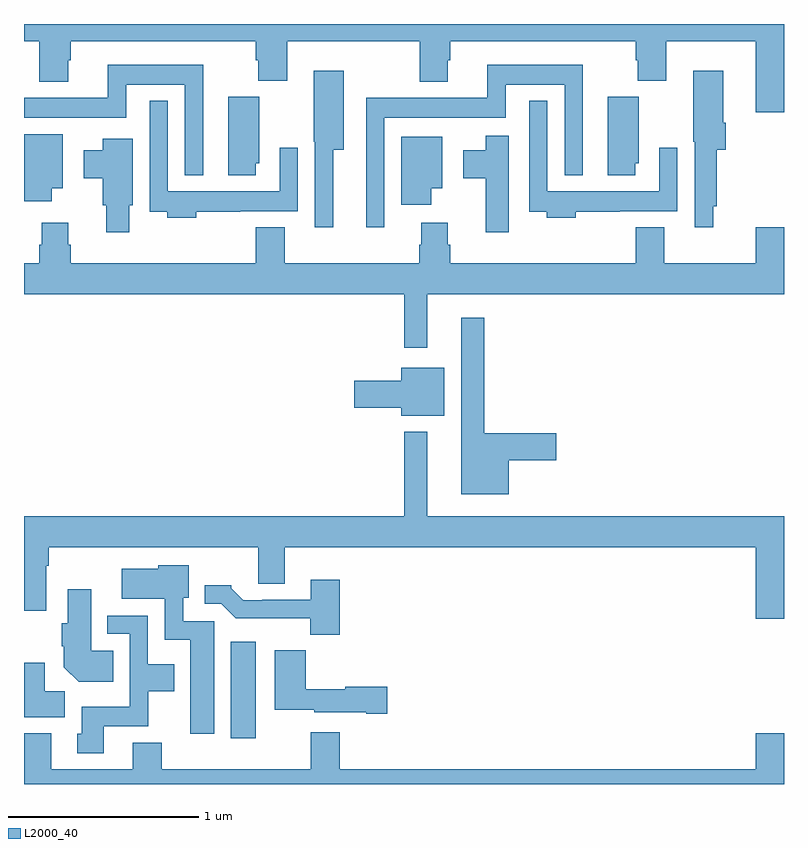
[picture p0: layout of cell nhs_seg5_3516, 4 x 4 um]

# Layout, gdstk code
import gdstk
lib = gdstk.Library(unit=1e-6, precision=1e-09)
def R(c, l, rs):  # rectangles x0, y0, x1, y1
    for r in rs: c.add(gdstk.rectangle(r[:2], r[2:], *l))
def P(c, l, *ps):  # polygons
    for p in ps: c.add(gdstk.Polygon(p, *l))
L2000_40 = (2000, 40)

nhs_seg5_3516 = lib.new_cell('nhs_seg5_3516')
R(nhs_seg5_3516, L2000_40, [(318.089,905.04,318.22,905.548)])
P(nhs_seg5_3516, L2000_40, [(317,908.708),(317.081,908.708),(317.081,908.495),(317.233,908.495),(317.233,908.607),(317.246,908.607),(317.246,908.708),(318.221,908.708),(318.221,908.609),(318.233,908.609),(318.233,908.5),(318.386,908.5),(318.386,908.708),(319.084,908.708),(319.084,908.495),(319.231,908.495),(319.231,908.607),(319.244,908.607),(319.244,908.708),(320.219,908.708),(320.219,908.609),(320.231,908.609),(320.231,908.5),(320.379,908.5),(320.379,908.708),(320.852,908.708),(320.852,908.334),(321,908.334),(321,908.799),(317,908.799)],
  [(318.897,908.306),(319.536,908.306),(319.536,908.48),(319.845,908.48),(319.845,908.003),(319.942,908.003),(319.942,908.584),(319.439,908.584),(319.439,908.41),(318.801,908.41),(318.801,908.078),(318.8,908.078),(318.8,907.728),(318.897,907.728)],
  [(317.944,908.584),(317.441,908.584),(317.441,908.41),(317,908.41),(317,908.306),(317.538,908.306),(317.538,908.48),(317.847,908.48),(317.847,908.003),(317.944,908.003)],
  [(318.628,908.138),(318.682,908.138),(318.682,908.554),(318.524,908.554),(318.524,908.178),(318.531,908.178),(318.531,907.728),(318.628,907.728)],
  [(320.628,907.84),(320.645,907.84),(320.645,908.138),(320.693,908.138),(320.693,908.278),(320.68,908.278),(320.68,908.554),(320.522,908.554),(320.522,908.178),(320.529,908.178),(320.529,907.728),(320.628,907.728)],
  [(318.22,908.067),(318.238,908.067),(318.238,908.415),(318.074,908.415),(318.074,908.004),(318.22,908.004)],
  [(320.218,908.067),(320.236,908.067),(320.236,908.415),(320.072,908.415),(320.072,908.004),(320.218,908.004)],
  [(319.904,907.812),(320.135,907.812),(320.135,907.814),(320.439,907.814),(320.439,908.149),(320.343,908.149),(320.343,907.918),(319.755,907.918),(319.755,908.395),(319.659,908.395),(319.659,907.812),(319.751,907.812),(319.751,907.778),(319.904,907.778)],
  [(317.906,907.812),(318.137,907.812),(318.137,907.814),(318.441,907.814),(318.441,908.149),(318.345,908.149),(318.345,907.918),(317.757,907.918),(317.757,908.395),(317.661,908.395),(317.661,907.812),(317.753,907.812),(317.753,907.778),(317.906,907.778)],
  [(317.146,907.934),(317.203,907.934),(317.203,908.218),(317,908.218),(317,907.866),(317.146,907.866)],
  [(319.552,908.212),(319.43,908.212),(319.43,908.134),(319.313,908.134),(319.313,907.987),(319.43,907.987),(319.43,907.704),(319.552,907.704)],
  [(319.144,907.934),(319.201,907.934),(319.201,908.206),(318.986,908.206),(318.986,907.848),(319.144,907.848)],
  [(317.554,907.845),(317.572,907.845),(317.572,908.194),(317.414,908.194),(317.414,908.134),(317.315,908.134),(317.315,907.987),(317.414,907.987),(317.414,907.845),(317.432,907.845),(317.432,907.704),(317.554,907.704)],
  [(319.123,907.376),(321,907.376),(321,907.729),(320.852,907.729),(320.852,907.54),(320.371,907.54),(320.371,907.729),(320.219,907.729),(320.219,907.54),(319.244,907.54),(319.244,907.638),(319.231,907.638),(319.231,907.753),(319.091,907.753),(319.091,907.638),(319.079,907.638),(319.079,907.54),(318.373,907.54),(318.373,907.729),(318.221,907.729),(318.221,907.54),(317.246,907.54),(317.246,907.638),(317.233,907.638),(317.233,907.753),(317.093,907.753),(317.093,907.638),(317.081,907.638),(317.081,907.54),(317,907.54),(317,907.376),(319.002,907.376),(319.002,907.095),(319.123,907.095)],
  [(319.552,906.502),(319.801,906.502),(319.801,906.644),(319.423,906.644),(319.423,907.252),(319.301,907.252),(319.301,906.323),(319.552,906.323)],
  [(319.213,906.991),(318.986,906.991),(318.986,906.921),(318.738,906.921),(318.738,906.779),(318.986,906.779),(318.986,906.737),(319.213,906.737)],
  [(321,906.208),(319.123,906.208),(319.123,906.652),(319.002,906.652),(319.002,906.208),(317,906.208),(317,906.044),(317.002,906.044),(317.002,905.712),(317.118,905.712),(317.118,905.948),(317.131,905.948),(317.131,906.044),(318.233,906.044),(318.233,905.854),(318.373,905.854),(318.373,906.044),(320.852,906.044),(320.852,905.67),(321,905.67)],
  [(318.001,905.655),(317.838,905.655),(317.838,905.778),(317.866,905.778),(317.866,905.95),(317.706,905.95),(317.706,905.932),(317.514,905.932),(317.514,905.774),(317.742,905.774),(317.742,905.558),(317.876,905.558),(317.876,905.064),(318.001,905.064)],
  [(318.662,905.875),(318.509,905.875),(318.509,905.769),(318.253,905.769),(318.253,905.766),(318.154,905.766),(318.09,905.83),(318.09,905.845),(317.951,905.845),(317.951,905.748),(318.039,905.748),(318.115,905.672),(318.507,905.672),(318.507,905.585),(318.662,905.585)],
  [(317.471,905.5),(317.353,905.5),(317.353,905.824),(317.231,905.824),(317.231,905.646),(317.198,905.646),(317.198,905.524),(317.21,905.524),(317.21,905.414),(317.288,905.336),(317.471,905.336)],
  [(317.419,905.102),(317.655,905.102),(317.655,905.288),(317.791,905.288),(317.791,905.428),(317.652,905.428),(317.652,905.685),(317.439,905.685),(317.439,905.589),(317.556,905.589),(317.556,905.206),(317.303,905.206),(317.303,905.064),(317.279,905.064),(317.279,904.962),(317.419,904.962)],
  [(318.913,905.312),(318.69,905.312),(318.69,905.299),(318.482,905.299),(318.482,905.503),(318.32,905.503),(318.32,905.189),(318.528,905.189),(318.528,905.177),(318.8,905.177),(318.8,905.17),(318.913,905.17)],
  [(317.215,905.288),(317.11,905.288),(317.11,905.437),(317,905.437),(317,905.15),(317.215,905.15)],
  [(321,905.065),(320.852,905.065),(320.852,904.876),(318.662,904.876),(318.662,905.071),(318.509,905.071),(318.509,904.876),(317.726,904.876),(317.726,905.017),(317.573,905.017),(317.573,904.876),(317.143,904.876),(317.143,905.065),(317,905.065),(317,904.799),(321,904.799)])

lib.write_gds('nhs_seg5_3516.gds')
